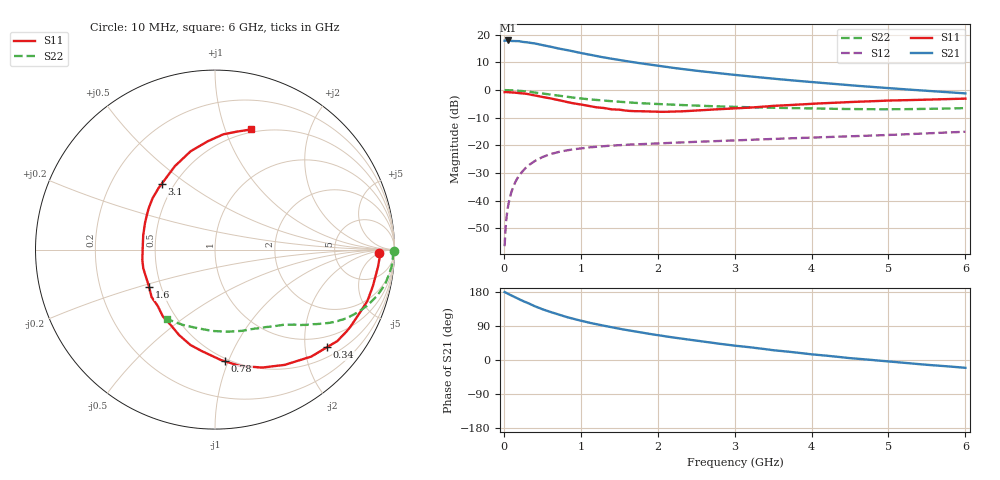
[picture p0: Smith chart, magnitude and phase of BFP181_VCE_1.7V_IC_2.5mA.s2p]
! Infineon Technologies  Discrete & RF Semiconductors
! BFP181
! VCE = 1.7 V,  IC =  2.5 mA
! Common Emitter S-Parameters:  Jan 2016
# GHz  S  MA  R  50
!  f  S11  S21  S12  S22
! GHz  MAG  ANG  MAG  ANG  MAG  ANG  MAG  ANG
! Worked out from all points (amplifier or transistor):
!   210 points, 10 MHz to 6 GHz, reference 50 ohm
!   highest |S21| = 17.9 dB at 50 MHz (marker M1)
!   |S21| within 3 dB of that: start of sweep to 727.7 MHz
!   unconditionally stable (mu >= 1): 2.169 GHz to end of sweep
!   at 185 MHz: K = 0.11, MSG = 24.6 dB, |S12| = -31.5 dB
!   at 1.52 GHz: K = 0.77, MSG = 15.3 dB, |S12| = -19.9 dB
!   at 6 GHz: K = 1.14, MAG = 4.7 dB, |S12| = -15.1 dB
!   S11 on the Smith chart (normalised r, x): 10 MHz: 21, -5; 340 MHz: 0.72, -2.49; 780 MHz: 0.48, -0.97; 1.6 GHz: 0.43, -0.22; 3.1 GHz: 0.43, +0.40; 6 GHz: 0.47, +1.23
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0.01  0.9147 -1.3  7.784 179.3  0.0015 84.0  0.9958 -0.5
0.03  0.9168 -3.5  7.836 177.4  0.0043 87.8  0.9926 -1.6
0.05  0.9133 -6.0  7.864 175.0  0.0072 88.6  0.9922 -2.8
0.115  0.9006 -14.3  7.685 168.7  0.0167 79.8  0.9853 -6.4
0.2  0.877 -24.8  7.63 160.2  0.0287 76.0  0.9686 -11.0
0.34  0.8275 -41.1  7.128 147.8  0.0453 66.0  0.9244 -17.6
0.4  0.8019 -48.0  6.959 142.1  0.0517 62.9  0.9036 -20.3
0.5  0.7508 -58.8  6.5 134.1  0.0611 57.1  0.8646 -24.1
0.6  0.7079 -68.2  6.102 127.1  0.0689 52.5  0.8287 -27.4
0.78  0.6244 -85.0  5.408 115.6  0.0792 45.7  0.767 -31.9
0.9  0.5758 -96.0  5.012 108.7  0.0844 41.9  0.7288 -34.4
1.02  0.5415 -106.0  4.611 102.8  0.0887 38.9  0.6981 -36.5
1.1  0.5166 -112.8  4.403 98.8  0.0915 37.1  0.6794 -37.8
1.3  0.4726 -127.9  3.879 90.4  0.0966 33.2  0.6434 -40.7
1.6  0.4219 -150.3  3.314 78.9  0.1025 29.6  0.6001 -44.2
2.02  0.4032 -179.3  2.711 65.1  0.109 26.3  0.5567 -49.3
2.54  0.4276 152.0  2.201 50.1  0.116 23.7  0.5187 -56.2
3.1  0.4717 129.0  1.819 35.8  0.1238 21.3  0.4895 -64.6
3.5  0.5158 115.7  1.603 25.9  0.1304 20.0  0.4774 -71.4
4.1  0.5716 101.7  1.354 13.2  0.1394 17.6  0.4599 -83.2
5.1  0.6482 84.6  1.055 -5.6  0.1556 14.4  0.4489 -104.8
6  0.6983 73.4  0.868 -20.6  0.1759 10.6  0.4704 -124.9
